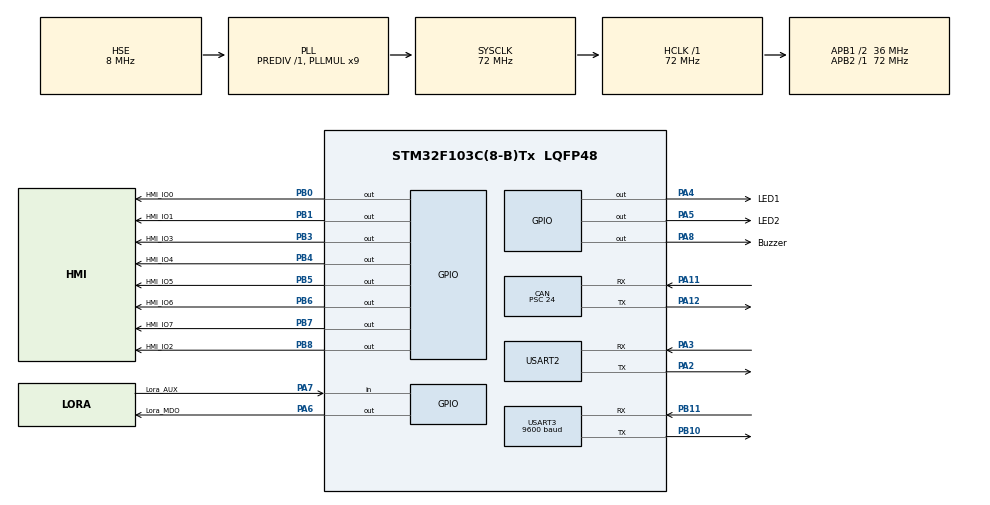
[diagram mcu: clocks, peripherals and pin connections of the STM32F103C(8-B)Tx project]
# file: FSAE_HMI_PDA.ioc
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CAN.BS1=CAN_BS1_3TQ
CAN.BS2=CAN_BS2_2TQ
CAN.CalculateBaudRate=249999
CAN.CalculateTimeBit=4000
CAN.CalculateTimeQuantum=666.6666666666667
CAN.Prescaler=24
CAN.SJW=CAN_SJW_1TQ
Mcu.Family=STM32F1
Mcu.Name=STM32F103C(8-B)Tx
Mcu.Package=LQFP48
NVIC.CAN1_RX1_IRQn=true\:0\:0\:false\:false\:true\:true\:true\:true
NVIC.PriorityGroup=NVIC_PRIORITYGROUP_4
NVIC.TIM4_IRQn=true\:0\:0\:false\:false\:true\:true\:true\:true
NVIC.USART3_IRQn=true\:0\:0\:false\:false\:true\:true\:true\:true
NVIC.USB_LP_CAN1_RX0_IRQn=true\:0\:0\:false\:false\:true\:true\:true\:true
PA11.Mode=CAN_Activate
PA11.Signal=CAN_RX
PA12.Mode=CAN_Activate
PA12.Signal=CAN_TX
PA13.Mode=Serial_Wire
PA13.Signal=SYS_JTMS-SWDIO
PA14.Mode=Serial_Wire
PA14.Signal=SYS_JTCK-SWCLK
PA2.Mode=Asynchronous
PA2.Signal=USART2_TX
PA3.Mode=Asynchronous
PA3.Signal=USART2_RX
PA4.GPIO_Label=LED1
PA4.Signal=GPIO_Output
PA5.GPIO_Label=LED2
PA5.Signal=GPIO_Output
PA6.GPIO_Label=Lora_MDO
PA6.PinState=GPIO_PIN_SET
PA6.Signal=GPIO_Output
PA7.GPIO_Label=Lora_AUX
PA7.GPIO_Mode=GPIO_MODE_INPUT
PA7.Signal=GPIO_Input
PA8.GPIO_Label=Buzzer
PA8.Signal=GPIO_Output
PB0.GPIO_Label=HMI_IO0
PB0.Signal=GPIO_Output
PB1.GPIO_Label=HMI_IO1
PB1.Signal=GPIO_Output
PB10.Mode=Asynchronous
PB10.Signal=USART3_TX
PB11.Mode=Asynchronous
PB11.Signal=USART3_RX
PB3.GPIO_Label=HMI_IO3
PB3.Signal=GPIO_Output
PB4.GPIO_Label=HMI_IO4
PB4.Signal=GPIO_Output
PB5.GPIO_Label=HMI_IO5
PB5.Signal=GPIO_Output
PB6.GPIO_Label=HMI_IO6
PB6.Signal=GPIO_Output
PB7.GPIO_Label=HMI_IO7
PB7.Signal=GPIO_Output
PB8.GPIO_Label=HMI_IO2
PB8.Signal=GPIO_Output
PC14-OSC32_IN.Mode=LSE-External-Oscillator
PC14-OSC32_IN.Signal=RCC_OSC32_IN
PC15-OSC32_OUT.Mode=LSE-External-Oscillator
PC15-OSC32_OUT.Signal=RCC_OSC32_OUT
PD0-OSC_IN.Mode=HSE-External-Oscillator
PD0-OSC_IN.Signal=RCC_OSC_IN
PD1-OSC_OUT.Mode=HSE-External-Oscillator
PD1-OSC_OUT.Signal=RCC_OSC_OUT
ProjectManager.HeapSize=0x200
ProjectManager.StackSize=0x400
ProjectManager.TargetToolchain=STM32CubeIDE
RCC.ADCPresc=RCC_ADCPCLK2_DIV6
RCC.AHBFreq_Value=72000000
RCC.APB1CLKDivider=RCC_HCLK_DIV2
RCC.APB1Freq_Value=36000000
RCC.APB1TimFreq_Value=72000000
RCC.APB2Freq_Value=72000000
RCC.APB2TimFreq_Value=72000000
RCC.HCLKFreq_Value=72000000
RCC.PLLMUL=RCC_PLL_MUL9
RCC.PLLSourceVirtual=RCC_PLLSOURCE_HSE
RCC.RTCClockSelection=RCC_RTCCLKSOURCE_LSE
RCC.SYSCLKFreq_VALUE=72000000
RCC.SYSCLKSource=RCC_SYSCLKSOURCE_PLLCLK
RCC.USBFreq_Value=72000000
TIM4.AutoReloadPreload=TIM_AUTORELOAD_PRELOAD_ENABLE
TIM4.Period=100-1
TIM4.Prescaler=7199
USART2.VirtualMode=VM_ASYNC
USART3.BaudRate=9600
USART3.VirtualMode=VM_ASYNC
VP_TIM4_VS_ClockSourceINT.Mode=Internal
board=custom

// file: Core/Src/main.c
/* USER CODE BEGIN Header */
/**
  ******************************************************************************
  * @file           : main.c
  * @brief          : Main program body
  ******************************************************************************
  * @attention
  *
  * Copyright (c) 2024 STMicroelectronics.
  * All rights reserved.
  *
  * This software is licensed under terms that can be found in the LICENSE file
  * in the root directory of this software component.
  * If no LICENSE file comes with this software, it is provided AS-IS.
  *
  ******************************************************************************
  */
/* USER CODE END Header */
#include "main.h"
#include "can.h"
#include "tim.h"
#include "usart.h"
#include "gpio.h"

/* USER CODE BEGIN Includes */
#include "bms_globals.h"
#include "atk_mw1278d_uart.h"
#include "atk_mw1278d.h"
#include "demo.h"
#include "delay.h"
/* USER CODE END Includes */

/* USER CODE BEGIN PTD */
uint8_t CAN_TxData2[] = { 0x00, 0x11, 0x22, 0x33, 0x44, 0x55, 0x66, 0x77 };
uint8_t* rx_data;
/* USER CODE END PTD */

/* USER CODE BEGIN PV */
//int Voltage[6][23] = {0,};
//int Temperature[6][8] = {0,};
//
//int Highest_Voltage = 0;
//int Lowest_Voltage = 0;
//int Highest_Temperature = 0;
//int Lowest_Temperature = 0;
//int Asking_Voltage = 0;
//int Asking_I = 0;
//int Sum_Voltage = 0;
//int Sum_I = 0;
//int Charging_Voltage = 0;
//int IMD = 1;
//int Air1 = 0;
//int Air2 = 0;
//int Air3 = 0;
//int SOC = 0;
//int Battery_State = 0;
//int Charging_Signal = 0;
/* USER CODE END PV */

void SystemClock_Config(void);

int main(void)
{

  /* MCU Configuration--------------------------------------------------------*/

  /* Reset of all peripherals, Initializes the Flash interface and the Systick. */
  HAL_Init();

  /* Configure the system clock */
  SystemClock_Config();

  /* Initialize all configured peripherals */
  MX_GPIO_Init();
  MX_USART2_UART_Init();
  MX_USART3_UART_Init();
  MX_CAN_Init();
  MX_TIM4_Init();
  /* USER CODE BEGIN 2 */
  HAL_GPIO_WritePin(GPIOA,GPIO_PIN_8, GPIO_PIN_RESET);
  HAL_CAN_Start(&hcan);   //����can
  HAL_CAN_ActivateNotification(&hcan, CAN_IT_RX_FIFO0_MSG_PENDING); //����FIFO0�ж�
  CAN_Filter_Config();    //����CAN�˲���
  for(int i=0;i<=5;i++)
  {
	  for(int j=0;j<=22;j++)
	  {
		  Voltage[i][j]=i;
	  }
  }
  for(int i=0;i<=5;i++)
  {
	  for(int j=0;j<=7;j++)
	  {
		  Temperature[i][j]=i*2;
	  }
  }
HAL_GPIO_WritePin(GPIOA,GPIO_PIN_4, GPIO_PIN_SET);
  HAL_GPIO_WritePin(GPIOA,GPIO_PIN_5, GPIO_PIN_SET);
  delay_init(72);                     /* ��ʱ��ʼ�� */
  HAL_Delay(50);
  demo_run();                         /* ����ʾ������ */
  HAL_GPIO_WritePin(GPIOA,GPIO_PIN_8, GPIO_PIN_RESET);

  /* USER CODE END 2 */

  /* Infinite loop */
  /* USER CODE BEGIN WHILE */
//  HAL_UART_Transmit_IT(&huart3, (uint8_t*) "Start", 5);
//  char buff[30];
  init_bms_globals();

  while (1)
  {
//	  User_CAN_Send_sq(0x01,CAN_TxData2);
//	  HAL_UART_Transmit(&huart2, (uint8_t*) "DingZhen", 8, 10000);
//	  HAL_UART_Transmit_IT(&huart2, (uint8_t*) "DingZhen", 8);
	  HMI_set_V(Highest_Voltage,Lowest_Voltage,Asking_Voltage,Sum_Voltage,Charging_Voltage);
//	  atk_mw1278d_uart_printf("HV:%d\r\n",Highest_Voltage);
//	  atk_mw1278d_uart_printf("LV:%d\r\n",Lowest_Voltage);
//	  atk_mw1278d_uart_printf("Sum_V:%d\r\n",Sum_Voltage);
//
	  HMI_set_I(Asking_I,(int)(((float)Sum_I-10000.0)*2.4/10));
//	  atk_mw1278d_uart_printf("Sum_I:%d\r\n",(int)(((float)Sum_I-10000.0)*2.4/10));

	  HMI_set_T(Highest_Temperature,Lowest_Temperature);
//	  atk_mw1278d_uart_printf("HT:%d\r\n",Highest_Temperature);
//	  atk_mw1278d_uart_printf("LT:%d\r\n",Lowest_Temperature);

	  HMI_set_State(IMD,Air1,Air2,Air3,SOC,Battery_State);
//	  atk_mw1278d_uart_printf("IMD:%d\r\n",IMD);
//	  atk_mw1278d_uart_printf("AirP:%d\r\n",Air1);
//	  atk_mw1278d_uart_printf("Air-:%d\r\n",Air2);
//	  atk_mw1278d_uart_printf("Air+:%d\r\n",Air3);
//	  atk_mw1278d_uart_printf("SOC:%d\r\n",SOC);
//	  atk_mw1278d_uart_printf("BS:%d\r\n",Battery_State);
//
//	  atk_mw1278d_uart_printf("Acc_x:%d\r\n",Acc_x);
//	  atk_mw1278d_uart_printf("Acc_y:%d\r\n",Acc_y);
//	  atk_mw1278d_uart_printf("Velocity:%d\r\n",Velocity);

//	  HMI_set_A(Velocity,Acc_x,Acc_y);
// Voltage[0][0]=3812;

	  for(int i=0;i<=5;i++)
	  {
		  for(int j=0;j<=22;j++)
		  {
			  HMI_set_Voltage(i+1,j+1,Voltage[i][j]);
			  //sprintf(buff, "%dmV ", Voltage[i][j]);
			  //HAL_UART_Transmit(&huart3, (uint8_t*) buff, strlen(buff), HAL_MAX_DELAY);
			  //HAL_UART_Transmit_IT(&huart3, (uint8_t*) buff, st  rlen(buff));
		  }
		   HAL_GPIO_TogglePin(GPIOA,GPIO_PIN_4);
	  }
//	  HAL_UART_Transmit_IT(&huart3, (uint8_t*) "\r\n", 2);
	  for(int i=0;i<=5;i++)
	  {
		  for(int j=0;j<=7;j++)
		  {
			  Temperature[0][0]=20;
			  HMI_set_Temperature(i+1,j+1,Temperature[i][j]);
			  //sprintf(buff, "%doC ", Temperature[i][j]);
			  //HAL_UART_Transmit(&huart3, (uint8_t*) buff, strlen(buff), HAL_MAX_DELAY);
			  //HAL_UART_Transmit_IT(&huart3, (uint8_t*) buff, strlen(buff));
		  }
		   HAL_GPIO_TogglePin(GPIOA,GPIO_PIN_5);
	  }
//	  HAL_UART_Transmit_IT(&huart3, (uint8_t*) "\r\n", 2);-
//	  atk_mw1278d_uart_printf("\r\n");
//	  atk_mw1278d_uart_printf("\r\n");
//	  HAL_GPIO_TogglePin(GPIOA,GPIO_PIN_4);
//	  HAL_GPIO_TogglePin(GPIOA,GPIO_PIN_5);
	  rx_data = atk_mw1278d_uart_rx_get_frame();
	  if(rx_data != NULL){
//		  atk_mw1278d_uart_printf("%s\r\n","I got sth.");
		  update_bms_stats(rx_data);
	  }
//	  if (rx_data[0] == '1') {
//		  atk_mw1278d_uart_printf("%s\r\n","What can I say");
//	  }else if (rx_data[0] == '2') {
//		  atk_mw1278d_uart_printf("%s\r\n","MAMBA OUT");
//	  }else{
//		  atk_mw1278d_uart_printf("%s\r\n","MAN");
//	  }
	  atk_mw1278d_uart_rx_restart();
	  HAL_Delay(200);

    /* USER CODE END WHILE */

  }
}

void SystemClock_Config(void)
{
  RCC_OscInitTypeDef RCC_OscInitStruct = {0};
  RCC_ClkInitTypeDef RCC_ClkInitStruct = {0};

  /** Initializes the RCC Oscillators according to the specified parameters
  * in the RCC_OscInitTypeDef structure.
  */
  RCC_OscInitStruct.OscillatorType = RCC_OSCILLATORTYPE_HSE;
  RCC_OscInitStruct.HSEState = RCC_HSE_ON;
  RCC_OscInitStruct.HSEPredivValue = RCC_HSE_PREDIV_DIV1;
  RCC_OscInitStruct.HSIState = RCC_HSI_ON;
  RCC_OscInitStruct.PLL.PLLState = RCC_PLL_ON;
  RCC_OscInitStruct.PLL.PLLSource = RCC_PLLSOURCE_HSE;
  RCC_OscInitStruct.PLL.PLLMUL = RCC_PLL_MUL9;
  if (HAL_RCC_OscConfig(&RCC_OscInitStruct) != HAL_OK)
  {
    Error_Handler();
  }

  /** Initializes the CPU, AHB and APB buses clocks
  */
  RCC_ClkInitStruct.ClockType = RCC_CLOCKTYPE_HCLK|RCC_CLOCKTYPE_SYSCLK
                              |RCC_CLOCKTYPE_PCLK1|RCC_CLOCKTYPE_PCLK2;
  RCC_ClkInitStruct.SYSCLKSource = RCC_SYSCLKSOURCE_PLLCLK;
  RCC_ClkInitStruct.AHBCLKDivider = RCC_SYSCLK_DIV1;
  RCC_ClkInitStruct.APB1CLKDivider = RCC_HCLK_DIV2;
  RCC_ClkInitStruct.APB2CLKDivider = RCC_HCLK_DIV1;

  if (HAL_RCC_ClockConfig(&RCC_ClkInitStruct, FLASH_LATENCY_2) != HAL_OK)
  {
    Error_Handler();
  }
}

void Error_Handler(void)
{
  __disable_irq();
  while (1)
  {
  }
}
